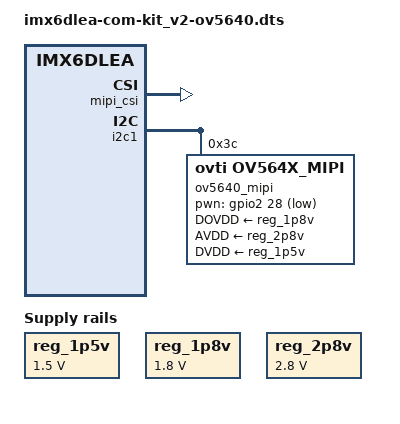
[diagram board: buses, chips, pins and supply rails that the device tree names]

/*
 * Copyright (C) 2018 Embedded Artists AB
 *
 * This program is free software; you can redistribute it and/or modify
 * it under the terms of the GNU General Public License version 2 as
 * published by the Free Software Foundation.
 */

#include "imx6dlea-com-kit_v2.dts"

/ {

        regulators {
                compatible = "simple-bus";

                reg_1p5v: 1p5v {
                        compatible = "regulator-fixed";
                        reg = <0>;
                        regulator-name = "1P5V";
                        regulator-min-microvolt = <1500000>;
                        regulator-max-microvolt = <1500000>;
                        regulator-always-on;
                };

                reg_1p8v: 1p8v {
                        compatible = "regulator-fixed";
                        reg = <1>;
                        regulator-name = "1P8V";
                        regulator-min-microvolt = <1800000>;
                        regulator-max-microvolt = <1800000>;
                        regulator-always-on;
                };

                reg_2p8v: 2p8v {
                        compatible = "regulator-fixed";
                        reg = <2>;
                        regulator-name = "2P8V";
                        regulator-min-microvolt = <2800000>;
                        regulator-max-microvolt = <2800000>;
                        regulator-always-on;
                };

	};

        v4l2_cap_0 {
                compatible = "fsl,imx6q-v4l2-capture";
                ipu_id = <0>;
                csi_id = <1>;
                mclk_source = <0>;
		default_input = <1>;
                status = "okay";
        };
};

&mipi_csi {
	ipu_id = <0>;
	csi_id = <1>;
	v_channel = <0>;
	lanes = <2>;
	mipi_dphy_clk = <0x30>;
	status = "okay";
};

&i2c1 {

        ov5640_mipi: ov5640_mipi@3c {
                compatible = "ovti,ov564x_mipi";
                reg = <0x3c>;
                clocks = <&clks IMX6QDL_CLK_DUMMY>;
                clock-names = "csi_mclk";
		DOVDD-supply = <&reg_1p8v>;
		AVDD-supply = <&reg_2p8v>;
		DVDD-supply = <&reg_1p5v>;
		ipu_id = <0>;
                csi_id = <1>;
                pinctrl-names = "default";
                pinctrl-0 = <&pinctrl_ov5640>;
                pwn-gpios = <&gpio2 28 GPIO_ACTIVE_LOW>; 
                mclk = <12000000>;
                mclk_source = <0>;
        };

};

&iomuxc {

	imx6qea-kit {
                pinctrl_ov5640: ov5640grp {
                        fsl,pins = <
				MX6QDL_PAD_EIM_EB0__GPIO2_IO28	0x1f0b0
                        >;
                };
	};
};

